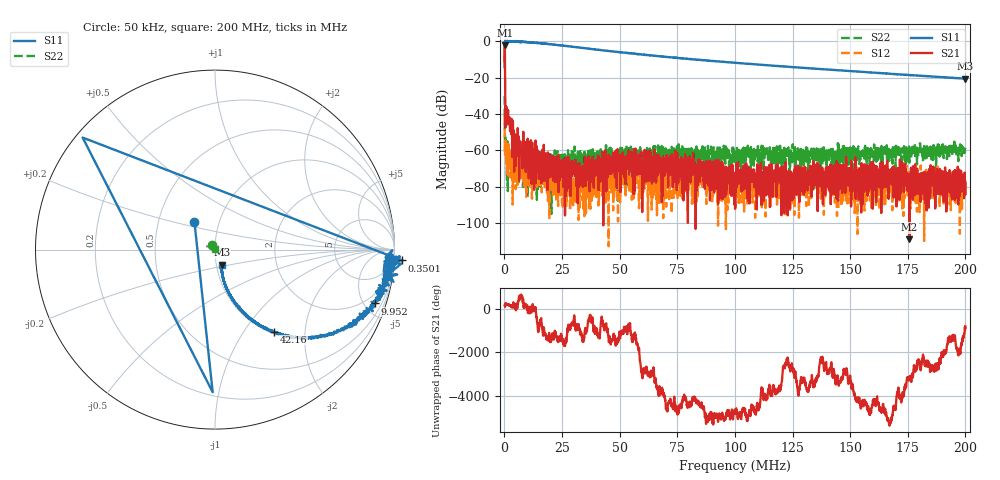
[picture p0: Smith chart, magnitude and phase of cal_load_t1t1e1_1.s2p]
! 26-Feb-26 1:40:45 PM
! E:\VNA_MEASUREMENTS\CAL_S11\CAL_LOAD_T1T1E1_1.S2P
! CHANNEL.1
! TR.MEASUREMENT
! CORRECTED.DATA
# GHZ S RI R 50.0
! FREQ.GHZ  S11RE  S11IM  S21RE  S21IM  S12RE  S12IM  S22RE  S22IM
!; PortSelection: Port_12
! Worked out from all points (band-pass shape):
!   2000 points, 50 kHz to 200 MHz, reference 50 ohm
!   highest |S21| = -2.36 dB at 150 kHz (marker M1); lowest = -108.8 dB at 175.7 MHz (marker M2)
!   |S21| within 3 dB of the highest: 115.2 kHz to 167.4 kHz (52.16 kHz wide, 36.9 % of centre)
!   lowest |S11| = -20.7 dB at 200 MHz (marker M3), VSWR 1.20, Z = 53.1 - j9.05 ohm
!   |S11| at or under -10 dB: start of sweep to 84.76 kHz; 81.82903 MHz to 81.96927 MHz (140.2 kHz wide, 0.171 % of centre); 82.2 MHz to end of sweep
!   |S22| runs from -94.9 to -30.2 dB; largest |S21 - S12| = 0.76
!   S11 on the Smith chart (normalised r, x): 50 kHz: 0.76, +0.25; 350.1 kHz: -17, -22; 9.952 MHz: 1.14, -5.89; 42.16 MHz: 1.03, -1.38; 200 MHz: 1.06, -0.18
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5e-05  -0.1148 0.1559  -0.2734 0.0706  -0.00805 -0.00356  -0.0168 0.0261
0.000150025  -0.0129 -0.7946  -0.6658 0.3714  -0.000569 0.00122  0.000708 -0.00331
0.000350075  1.043 -0.0607  -0.00535 -0.00931  0.000687 0.000962  -0.00213 8.46e-05
0.001150275  1.03 -0.0387  -0.00832 -0.00468  0.00032 -0.00117  -0.000194 0.000638
0.001750425  0.9436 -0.0661  -0.00547 -0.00366  -0.00142 0.000393  0.000251 0.000199
0.004351076  0.9718 -0.1335  -0.0017 0.00161  0.000315 0.000472  0.000961 0.000246
0.009952476  0.8912 -0.3  -0.000692 0.000617  -7.63e-05 0.000355  0.000145 0.000237
0.03345835  0.4402 -0.4864  7.34e-05 -0.000242  -0.000135 6.13e-05  0.000468 -0.000279
0.03575893  0.4072 -0.4788  0.000322 0.000386  3.57e-05 6.18e-05  0.000766 -3.7e-06
0.04216053  0.327 -0.4569  0.000588 -1.37e-05  0.000292 -2.81e-05  0.000122 3.6e-05
0.05426356  0.2265 -0.4089  -0.000286 -0.00031  2e-05 -7.07e-05  0.000431 0.000483
0.06056513  0.1865 -0.3741  0.000139 2.99e-05  0.000431 0.000228  0.000115 6.65e-05
0.06676668  0.1601 -0.3524  -9.05e-05 0.000218  -0.000268 2.87e-05  0.000614 -7.16e-05
0.07796949  0.1201 -0.3113  0.000328 2.58e-05  0.000103 -8.05e-05  0.000805 0.000603
0.08187046  0.1112 -0.2946  -0.000728 0.000414  1.67e-05 3.2e-05  0.000887 0.000133
0.09557389  0.0838 -0.2562  3.22e-05 5.12e-05  -0.000165 -0.000214  0.000317 0.000758
0.100075  0.0774 -0.2427  -2.47e-05 -2.4e-06  -0.000199 0.000148  0.000668 0.000322
0.1333833  0.048 -0.1706  -0.000136 -2.45e-05  -0.000128 3.84e-05  0.000529 0.000343
0.1666917  0.0387 -0.122  -4.2e-05 -2.02e-05  -5.36e-05 0.000104  0.000803 0.000435
0.1756939  0.0381 -0.1108  1e-06 3.5e-06  -7.17e-05 0.000145  0.000444 0.000128
0.1982996  0.0378 -0.087  -9.36e-05 0.000203  9.27e-05 -1.06e-05  0.000858 0.00108
0.2  0.0373 -0.0845  -8e-06 -6.42e-05  -0.000107 0.000159  0.000634 0.000979
